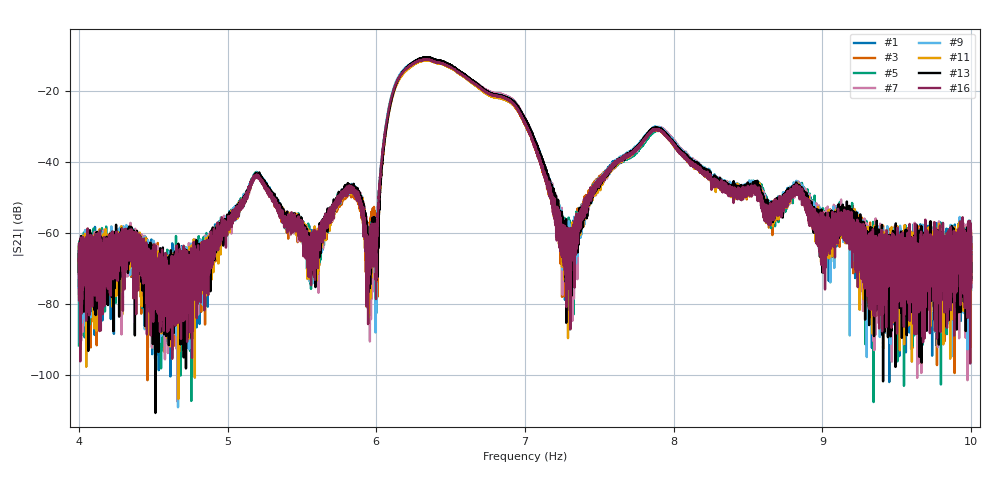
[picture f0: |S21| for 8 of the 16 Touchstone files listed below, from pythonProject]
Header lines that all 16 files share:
!Created with skrf (http://scikit-rf.org).
# Hz S RI R 50.0
!freq ReS11 ImS11 ReS21 ImS21 ReS12 ImS12 ReS22 ImS22
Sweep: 4 Hz to 10 Hz
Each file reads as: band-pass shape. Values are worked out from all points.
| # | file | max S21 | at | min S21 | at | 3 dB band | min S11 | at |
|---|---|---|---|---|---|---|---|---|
| 1 | Measurement_00001.s2p | -10.61 dB | 6.352 Hz | -102.0 dB | 9.45 Hz | 6.197 Hz-6.528 Hz | -38.7 dB | 6.612 Hz |
| 2 | Measurement_00002.s2p | -10.61 dB | 6.334 Hz | -101.5 dB | 4.637 Hz | 6.202 Hz-6.529 Hz | -31.9 dB | 6.641 Hz |
| 3 | Measurement_00003.s2p | -11.13 dB | 6.344 Hz | -101.5 dB | 4.461 Hz | 6.197 Hz-6.528 Hz | -32.1 dB | 6.644 Hz |
| 4 | Measurement_00004.s2p | -11.36 dB | 6.338 Hz | -103.9 dB | 4.651 Hz | 6.19 Hz-6.524 Hz | -33.8 dB | 6.612 Hz |
| 5 | Measurement_00005.s2p | -10.82 dB | 6.338 Hz | -107.6 dB | 9.344 Hz | 6.198 Hz-6.528 Hz | -33.2 dB | 6.612 Hz |
| 6 | Measurement_00009.s2p | -10.77 dB | 6.341 Hz | -111.7 dB | 4.686 Hz | 6.202 Hz-6.527 Hz | -41.5 dB | 6.612 Hz |
| 7 | Measurement_00011.s2p | -10.50 dB | 6.338 Hz | -107.5 dB | 4.664 Hz | 6.201 Hz-6.528 Hz | -50.7 dB | 6.612 Hz |
| 8 | Measurement_00012.s2p | -10.94 dB | 6.345 Hz | -102.3 dB | 6.003 Hz | 6.2 Hz-6.528 Hz | -34.5 dB | 6.61 Hz |
| 9 | Measurement_00013.s2p | -10.47 dB | 6.338 Hz | -109.1 dB | 4.666 Hz | 6.195 Hz-6.528 Hz | -32.0 dB | 6.61 Hz |
| 10 | Measurement_00017.s2p | -10.26 dB | 6.338 Hz | -98.3 dB | 4.778 Hz | 6.197 Hz-6.521 Hz | -30.8 dB | 6.645 Hz |
| 11 | Measurement_00019.s2p | -11.22 dB | 6.344 Hz | -106.8 dB | 4.669 Hz | 6.201 Hz-6.531 Hz | -34.5 dB | 6.612 Hz |
| 12 | Measurement_00021.s2p | -10.83 dB | 6.344 Hz | -106.1 dB | 4.648 Hz | 6.204 Hz-6.527 Hz | -36.7 dB | 6.612 Hz |
| 13 | Measurement_00022.s2p | -10.43 dB | 6.334 Hz | -110.7 dB | 4.515 Hz | 6.202 Hz-6.529 Hz | -40.4 dB | 6.612 Hz |
| 14 | Measurement_00023.s2p | -10.82 dB | 6.341 Hz | -103.7 dB | 9.344 Hz | 6.202 Hz-6.532 Hz | -33.7 dB | 6.611 Hz |
| 15 | Measurement_00024.s2p | -10.78 dB | 6.338 Hz | -106.3 dB | 4.033 Hz | 6.198 Hz-6.532 Hz | -37.0 dB | 6.568 Hz |
| 16 | Measurement_00025.s2p | -11.03 dB | 6.338 Hz | -96.8 dB | 9.994 Hz | 6.191 Hz-6.531 Hz | -31.8 dB | 6.612 Hz |
